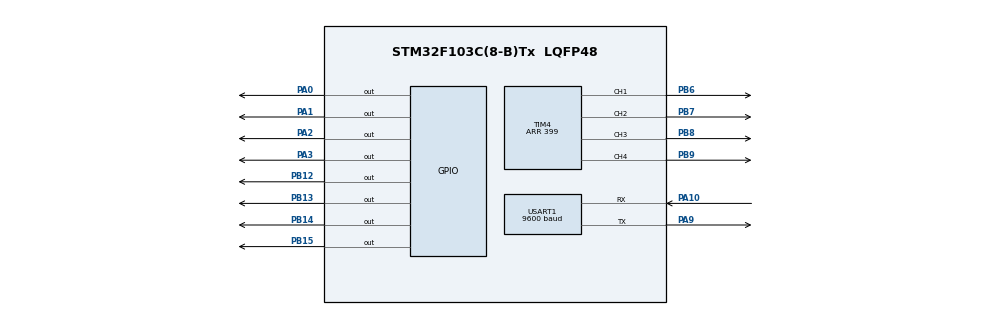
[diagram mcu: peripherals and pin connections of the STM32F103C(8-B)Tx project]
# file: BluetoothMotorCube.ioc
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Mcu.Family=STM32F1
Mcu.Name=STM32F103C(8-B)Tx
Mcu.Package=LQFP48
NVIC.PriorityGroup=NVIC_PRIORITYGROUP_4
PA0-WKUP.Signal=GPIO_Output
PA1.Signal=GPIO_Output
PA10.Mode=Asynchronous
PA10.Signal=USART1_RX
PA13.Mode=Serial_Wire
PA13.Signal=SYS_JTMS-SWDIO
PA14.Mode=Serial_Wire
PA14.Signal=SYS_JTCK-SWCLK
PA2.Signal=GPIO_Output
PA3.Signal=GPIO_Output
PA9.Mode=Asynchronous
PA9.Signal=USART1_TX
PB12.Signal=GPIO_Output
PB13.Signal=GPIO_Output
PB14.Signal=GPIO_Output
PB15.Signal=GPIO_Output
PB6.Signal=S_TIM4_CH1
PB7.Signal=S_TIM4_CH2
PB8.Signal=S_TIM4_CH3
PB9.Signal=S_TIM4_CH4
ProjectManager.HeapSize=0x200
ProjectManager.StackSize=0x400
ProjectManager.TargetToolchain=Makefile
RCC.APB1Freq_Value=8000000
RCC.APB2Freq_Value=8000000
SH.S_TIM4_CH1.0=TIM4_CH1,PWM Generation1 CH1
SH.S_TIM4_CH2.0=TIM4_CH2,PWM Generation2 CH2
SH.S_TIM4_CH3.0=TIM4_CH3,PWM Generation3 CH3
SH.S_TIM4_CH4.0=TIM4_CH4,PWM Generation4 CH4
TIM4.AutoReloadPreload=TIM_AUTORELOAD_PRELOAD_ENABLE
TIM4.Channel-PWM\ Generation1\ CH1=TIM_CHANNEL_1
TIM4.Channel-PWM\ Generation2\ CH2=TIM_CHANNEL_2
TIM4.Channel-PWM\ Generation3\ CH3=TIM_CHANNEL_3
TIM4.Channel-PWM\ Generation4\ CH4=TIM_CHANNEL_4
TIM4.Period=399
USART1.BaudRate=9600
USART1.VirtualMode=VM_ASYNC
VP_TIM4_VS_ClockSourceINT.Mode=Internal
board=custom

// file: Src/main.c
/* USER CODE BEGIN Header */
/**
  ******************************************************************************
  * @file           : main.c
  * @brief          : Main program body
  ******************************************************************************
  * @attention
  *
  * Copyright (c) 2026 STMicroelectronics.
  * All rights reserved.
  *
  * This software is licensed under terms that can be found in the LICENSE file
  * in the root directory of this software component.
  * If no LICENSE file comes with this software, it is provided AS-IS.
  *
  ******************************************************************************
  */
/* USER CODE END Header */
#include "main.h"

/* USER CODE BEGIN Includes */
#include <string.h>
/* USER CODE END Includes */

/* USER CODE BEGIN PTD */
typedef struct
{
  GPIO_TypeDef *in1_port;
  uint16_t in1_pin;
  GPIO_TypeDef *in2_port;
  uint16_t in2_pin;
  uint32_t pwm_channel;
  int16_t trim_percent;
  uint8_t inverted;
  int16_t current_pwm;
} MotorConfig_t;

/* USER CODE END PTD */

/* USER CODE BEGIN PD */
#define PWM_MAX_VALUE          399
#define PWM_MIN_RUN            60
#define PWM_RAMP_UP_STEP       20
#define PWM_RAMP_DOWN_STEP     30
#define CONTROL_PERIOD_MS      10U
#define MOTION_TIMEOUT_MS      1200U
/*
 * Single-key bench test speed. Kept equal to the old effective value
 * (100 * 35%) so the behaviour already validated on the bench is
 * preserved now that the hidden 35% scaling is gone.
 * Diagonal keys use 71% per axis, which is the 45 degree unit vector,
 * so all manual keys produce the same translational magnitude.
 */
#define MANUAL_TEST_SPEED      35
#define MANUAL_DIAG_SPEED      25
#define VECTOR_BUFFER_SIZE     28U

/* USER CODE END PD */

TIM_HandleTypeDef htim4;

UART_HandleTypeDef huart1;

/* USER CODE BEGIN PV */
static MotorConfig_t motors[4] =
{
  /* Order must match wheel[] in set_motion: FL, FR, RL, RR. */
  {GPIOB, GPIO_PIN_12, GPIOB, GPIO_PIN_13, TIM_CHANNEL_1, 100, 0, 0},
  {GPIOA, GPIO_PIN_0,  GPIOA, GPIO_PIN_1,  TIM_CHANNEL_3, 100, 0, 0},
  {GPIOB, GPIO_PIN_14, GPIOB, GPIO_PIN_15, TIM_CHANNEL_2, 100, 0, 0},
  {GPIOA, GPIO_PIN_2,  GPIOA, GPIO_PIN_3,  TIM_CHANNEL_4, 100, 0, 0}
};

static int16_t target_pwm[4];
static int16_t motion_vx;
static int16_t motion_vy;
static int16_t motion_wz;
static uint8_t motion_active;
static uint32_t motion_deadline;
static uint32_t last_control_tick;

static uint8_t vector_collecting;
static uint8_t vector_length;
static char vector_buffer[VECTOR_BUFFER_SIZE];
/* USER CODE END PV */

void SystemClock_Config(void);
static void MX_GPIO_Init(void);
static void MX_TIM4_Init(void);
static void MX_USART1_UART_Init(void);
/* USER CODE BEGIN PFP */
static void uart_puts(const char *text);
static int32_t abs_i32(int32_t value);
static void motors_hard_stop(void);
static void motor_output(MotorConfig_t *motor, int16_t pwm);
static void motors_ramp(void);
static void set_motion(int16_t vx, int16_t vy, int16_t wz);
static void start_motion(int16_t vx, int16_t vy, int16_t wz);
static void process_command(uint8_t byte);
static void process_vector(void);
static uint8_t parse_int16(const char **cursor, int16_t *value);
/* USER CODE END PFP */

int main(void)
{

  /* USER CODE BEGIN 1 */
  uint8_t rx_byte = 0;
  /* USER CODE END 1 */

  /* MCU Configuration--------------------------------------------------------*/

  /* Reset of all peripherals, Initializes the Flash interface and the Systick. */
  HAL_Init();

  /* Configure the system clock */
  SystemClock_Config();

  /* Initialize all configured peripherals */
  MX_GPIO_Init();
  MX_TIM4_Init();
  MX_USART1_UART_Init();
  /* USER CODE BEGIN 2 */
  HAL_TIM_PWM_Start(&htim4, TIM_CHANNEL_1);
  HAL_TIM_PWM_Start(&htim4, TIM_CHANNEL_2);
  HAL_TIM_PWM_Start(&htim4, TIM_CHANNEL_3);
  HAL_TIM_PWM_Start(&htim4, TIM_CHANNEL_4);
  motors_hard_stop();
  last_control_tick = HAL_GetTick();

  uart_puts("MECANUM X READY\r\n");
  uart_puts("F/B/L/R=move Q/E=rotate S=stop\r\n");
  uart_puts("G/I/H/J=diagonal\r\n");
  uart_puts("V,fwd,right,ccw<ENTER>=vector -100..100\r\n");
  /* USER CODE END 2 */

  /* Infinite loop */
  /* USER CODE BEGIN WHILE */
  while (1)
  {
    /*
     * A finite timeout is essential here, not just for responsiveness:
     * HAL only clears a latched overrun (ORE) from inside the timeout
     * path of UART_WaitOnFlagUntilTimeout. With HAL_MAX_DELAY a single
     * overrun would leave the receiver stuck forever.
     */
    if (HAL_UART_Receive(&huart1, &rx_byte, 1, 1) == HAL_OK)
    {
      process_command(rx_byte);
    }

    if ((HAL_GetTick() - last_control_tick) >= CONTROL_PERIOD_MS)
    {
      last_control_tick = HAL_GetTick();
      motors_ramp();
    }

    if (motion_active &&
        ((int32_t)(HAL_GetTick() - motion_deadline) >= 0))
    {
      motion_active = 0;
      motion_vx = 0;
      motion_vy = 0;
      motion_wz = 0;
      /*
       * Coast to a stop through the ramp instead of cutting the PWM
       * instantly, so a dropped link does not slam the gearbox.
       */
      set_motion(0, 0, 0);
      uart_puts("STOP timeout\r\n");
    }

    /* USER CODE END WHILE */

  }
}

void SystemClock_Config(void)
{
  RCC_OscInitTypeDef RCC_OscInitStruct = {0};
  RCC_ClkInitTypeDef RCC_ClkInitStruct = {0};

  /** Initializes the RCC Oscillators according to the specified parameters
  * in the RCC_OscInitTypeDef structure.
  */
  RCC_OscInitStruct.OscillatorType = RCC_OSCILLATORTYPE_HSI;
  RCC_OscInitStruct.HSIState = RCC_HSI_ON;
  RCC_OscInitStruct.HSICalibrationValue = RCC_HSICALIBRATION_DEFAULT;
  RCC_OscInitStruct.PLL.PLLState = RCC_PLL_NONE;
  if (HAL_RCC_OscConfig(&RCC_OscInitStruct) != HAL_OK)
  {
    Error_Handler();
  }

  /** Initializes the CPU, AHB and APB buses clocks
  */
  RCC_ClkInitStruct.ClockType = RCC_CLOCKTYPE_HCLK|RCC_CLOCKTYPE_SYSCLK
                              |RCC_CLOCKTYPE_PCLK1|RCC_CLOCKTYPE_PCLK2;
  RCC_ClkInitStruct.SYSCLKSource = RCC_SYSCLKSOURCE_HSI;
  RCC_ClkInitStruct.AHBCLKDivider = RCC_SYSCLK_DIV1;
  RCC_ClkInitStruct.APB1CLKDivider = RCC_HCLK_DIV1;
  RCC_ClkInitStruct.APB2CLKDivider = RCC_HCLK_DIV1;

  if (HAL_RCC_ClockConfig(&RCC_ClkInitStruct, FLASH_LATENCY_0) != HAL_OK)
  {
    Error_Handler();
  }
}

static void MX_TIM4_Init(void)
{

  TIM_ClockConfigTypeDef sClockSourceConfig = {0};
  TIM_MasterConfigTypeDef sMasterConfig = {0};
  TIM_OC_InitTypeDef sConfigOC = {0};

  htim4.Instance = TIM4;
  htim4.Init.Prescaler = 0;
  htim4.Init.CounterMode = TIM_COUNTERMODE_UP;
  htim4.Init.Period = 399;
  htim4.Init.ClockDivision = TIM_CLOCKDIVISION_DIV1;
  htim4.Init.AutoReloadPreload = TIM_AUTORELOAD_PRELOAD_ENABLE;
  if (HAL_TIM_Base_Init(&htim4) != HAL_OK)
  {
    Error_Handler();
  }
  sClockSourceConfig.ClockSource = TIM_CLOCKSOURCE_INTERNAL;
  if (HAL_TIM_ConfigClockSource(&htim4, &sClockSourceConfig) != HAL_OK)
  {
    Error_Handler();
  }
  if (HAL_TIM_PWM_Init(&htim4) != HAL_OK)
  {
    Error_Handler();
  }
  sMasterConfig.MasterOutputTrigger = TIM_TRGO_RESET;
  sMasterConfig.MasterSlaveMode = TIM_MASTERSLAVEMODE_DISABLE;
  if (HAL_TIMEx_MasterConfigSynchronization(&htim4, &sMasterConfig) != HAL_OK)
  {
    Error_Handler();
  }
  sConfigOC.OCMode = TIM_OCMODE_PWM1;
  sConfigOC.Pulse = 0;
  sConfigOC.OCPolarity = TIM_OCPOLARITY_HIGH;
  sConfigOC.OCFastMode = TIM_OCFAST_DISABLE;
  if (HAL_TIM_PWM_ConfigChannel(&htim4, &sConfigOC, TIM_CHANNEL_1) != HAL_OK)
  {
    Error_Handler();
  }
  if (HAL_TIM_PWM_ConfigChannel(&htim4, &sConfigOC, TIM_CHANNEL_2) != HAL_OK)
  {
    Error_Handler();
  }
  if (HAL_TIM_PWM_ConfigChannel(&htim4, &sConfigOC, TIM_CHANNEL_3) != HAL_OK)
  {
    Error_Handler();
  }
  if (HAL_TIM_PWM_ConfigChannel(&htim4, &sConfigOC, TIM_CHANNEL_4) != HAL_OK)
  {
    Error_Handler();
  }
  HAL_TIM_MspPostInit(&htim4);

}

static void MX_USART1_UART_Init(void)
{

  huart1.Instance = USART1;
  huart1.Init.BaudRate = 9600;
  huart1.Init.WordLength = UART_WORDLENGTH_8B;
  huart1.Init.StopBits = UART_STOPBITS_1;
  huart1.Init.Parity = UART_PARITY_NONE;
  huart1.Init.Mode = UART_MODE_TX_RX;
  huart1.Init.HwFlowCtl = UART_HWCONTROL_NONE;
  huart1.Init.OverSampling = UART_OVERSAMPLING_16;
  if (HAL_UART_Init(&huart1) != HAL_OK)
  {
    Error_Handler();
  }

}

static void MX_GPIO_Init(void)
{
  GPIO_InitTypeDef GPIO_InitStruct = {0};

  /* GPIO Ports Clock Enable */
  __HAL_RCC_GPIOA_CLK_ENABLE();
  __HAL_RCC_GPIOB_CLK_ENABLE();

  /*Configure GPIO pin Output Level */
  HAL_GPIO_WritePin(GPIOA, GPIO_PIN_0|GPIO_PIN_1|GPIO_PIN_2|GPIO_PIN_3, GPIO_PIN_RESET);

  /*Configure GPIO pin Output Level */
  HAL_GPIO_WritePin(GPIOB, GPIO_PIN_12|GPIO_PIN_13|GPIO_PIN_14|GPIO_PIN_15, GPIO_PIN_RESET);

  /*Configure GPIO pins : PA0 PA1 PA2 PA3 */
  GPIO_InitStruct.Pin = GPIO_PIN_0|GPIO_PIN_1|GPIO_PIN_2|GPIO_PIN_3;
  GPIO_InitStruct.Mode = GPIO_MODE_OUTPUT_PP;
  GPIO_InitStruct.Pull = GPIO_NOPULL;
  GPIO_InitStruct.Speed = GPIO_SPEED_FREQ_LOW;
  HAL_GPIO_Init(GPIOA, &GPIO_InitStruct);

  /*Configure GPIO pins : PB12 PB13 PB14 PB15 */
  GPIO_InitStruct.Pin = GPIO_PIN_12|GPIO_PIN_13|GPIO_PIN_14|GPIO_PIN_15;
  GPIO_InitStruct.Mode = GPIO_MODE_OUTPUT_PP;
  GPIO_InitStruct.Pull = GPIO_NOPULL;
  GPIO_InitStruct.Speed = GPIO_SPEED_FREQ_LOW;
  HAL_GPIO_Init(GPIOB, &GPIO_InitStruct);

}

/* USER CODE BEGIN 4 */
static void uart_puts(const char *text)
{
  HAL_UART_Transmit(&huart1,
                    (const uint8_t *)text,
                    (uint16_t)strlen(text),
                    HAL_MAX_DELAY);
}

static int32_t abs_i32(int32_t value)
{
  return (value < 0) ? -value : value;
}

static void motor_output(MotorConfig_t *motor, int16_t pwm)
{
  uint8_t forward;
  uint16_t compare;

  if (pwm == 0)
  {
    __HAL_TIM_SET_COMPARE(&htim4, motor->pwm_channel, 0);
    HAL_GPIO_WritePin(motor->in1_port, motor->in1_pin, GPIO_PIN_RESET);
    HAL_GPIO_WritePin(motor->in2_port, motor->in2_pin, GPIO_PIN_RESET);
    return;
  }

  forward = (pwm > 0) ? 1U : 0U;
  if (motor->inverted != 0U)
  {
    forward = !forward;
  }

  if (forward != 0U)
  {
    HAL_GPIO_WritePin(motor->in1_port, motor->in1_pin, GPIO_PIN_SET);
    HAL_GPIO_WritePin(motor->in2_port, motor->in2_pin, GPIO_PIN_RESET);
  }
  else
  {
    HAL_GPIO_WritePin(motor->in1_port, motor->in1_pin, GPIO_PIN_RESET);
    HAL_GPIO_WritePin(motor->in2_port, motor->in2_pin, GPIO_PIN_SET);
  }

  compare = (uint16_t)abs_i32(pwm);
  if (compare > PWM_MAX_VALUE)
  {
    compare = PWM_MAX_VALUE;
  }
  __HAL_TIM_SET_COMPARE(&htim4, motor->pwm_channel, compare);
}

static void motors_hard_stop(void)
{
  uint8_t index;

  for (index = 0U; index < 4U; index++)
  {
    motors[index].current_pwm = 0;
    target_pwm[index] = 0;
    motor_output(&motors[index], 0);
  }
}

static void motors_ramp(void)
{
  uint8_t index;
  int16_t current;
  int16_t target;
  int16_t step;

  for (index = 0U; index < 4U; index++)
  {
    current = motors[index].current_pwm;
    target = target_pwm[index];

    if (((current < 0) && (target > 0)) ||
        ((current > 0) && (target < 0)))
    {
      /*
       * Never cross zero in one step: a direction reversal must pass
       * through a full stop so the H-bridge is not stressed and the
       * gearbox is not shocked.
       */
      if (abs_i32(current) <= PWM_RAMP_DOWN_STEP)
      {
        current = 0;
      }
      else
      {
        current += (current > 0) ? -PWM_RAMP_DOWN_STEP : PWM_RAMP_DOWN_STEP;
      }
    }
    else
    {
      /*
       * Asymmetric ramp: accelerate quickly enough to stay responsive
       * at 60 Hz command rate, decelerate faster so releasing the stick
       * feels immediate.
       */
      step = (abs_i32(target) > abs_i32(current)) ? PWM_RAMP_UP_STEP
                                                 : PWM_RAMP_DOWN_STEP;

      if (current < target)
      {
        current = (int16_t)((target - current > step)
                            ? current + step : target);
      }
      else if (current > target)
      {
        current = (int16_t)((current - target > step)
                            ? current - step : target);
      }
    }

    if (current != motors[index].current_pwm)
    {
      motors[index].current_pwm = current;
      motor_output(&motors[index], current);
    }
  }
}

static void set_motion(int16_t vx, int16_t vy, int16_t wz)
{
  int32_t wheel[4];
  int32_t max_wheel = 0;
  int32_t speed;
  uint8_t index;

  motion_vx = vx;
  motion_vy = vy;
  motion_wz = wz;

  /*
   * vx, vy and wz are the final normalised targets in -100..100.
   * The MCU only clamps, normalises the four wheels and applies trim;
   * it must not scale them again, otherwise the host speed slider
   * becomes meaningless (the old code multiplied by a hidden 35%).
   */

  /*
   * Standard X mecanum layout:
   * FL = forward + right - CCW
   * FR = forward - right + CCW
   * RL = forward - right - CCW
   * RR = forward + right + CCW
   */
  wheel[0] = (int32_t)vx + vy - wz;
  wheel[1] = (int32_t)vx - vy + wz;
  wheel[2] = (int32_t)vx - vy - wz;
  wheel[3] = (int32_t)vx + vy + wz;

  for (index = 0U; index < 4U; index++)
  {
    if (abs_i32(wheel[index]) > max_wheel)
    {
      max_wheel = abs_i32(wheel[index]);
    }
  }

  if (max_wheel > 100)
  {
    for (index = 0U; index < 4U; index++)
    {
      wheel[index] = wheel[index] * 100 / max_wheel;
    }
  }

  for (index = 0U; index < 4U; index++)
  {
    speed = wheel[index] * motors[index].trim_percent / 100;
    if (speed > 100)
    {
      speed = 100;
    }
    else if (speed < -100)
    {
      speed = -100;
    }

    target_pwm[index] = (int16_t)(speed * PWM_MAX_VALUE / 100);
    if ((target_pwm[index] != 0) &&
        (abs_i32(target_pwm[index]) < PWM_MIN_RUN))
    {
      target_pwm[index] = (target_pwm[index] > 0)
                          ? PWM_MIN_RUN : -PWM_MIN_RUN;
    }
  }
}

static void start_motion(int16_t vx, int16_t vy, int16_t wz)
{
  set_motion(vx, vy, wz);
  motion_active = 1U;
  motion_deadline = HAL_GetTick() + MOTION_TIMEOUT_MS;
}

/*
 * Two distinct stop semantics on purpose:
 *
 *   V,0,0,0  -> soft stop. Target becomes zero and the ramp coasts the
 *               wheels down, which is what a released stick should do.
 *   S        -> hard stop. PWM is cut immediately and the ramp state is
 *               reset, for the emergency button and for link loss.
 */
static void hard_stop(void)
{
  motion_active = 0U;
  motion_vx = 0;
  motion_vy = 0;
  motion_wz = 0;
  motors_hard_stop();
}

static void process_command(uint8_t byte)
{
  uint8_t command;

  if (vector_collecting != 0U)
  {
    if ((byte == '\n') || (byte == '\r'))
    {
      vector_buffer[vector_length] = '\0';
      vector_collecting = 0U;
      process_vector();
    }
    else if (vector_length < (VECTOR_BUFFER_SIZE - 1U))
    {
      vector_buffer[vector_length++] = (char)byte;
    }
    else
    {
      vector_collecting = 0U;
      uart_puts("ERR vector too long\r\n");
    }
    return;
  }

  command = (uint8_t)((byte >= 'a' && byte <= 'z') ? byte - 32U : byte);

  switch (command)
  {
    case 'F': start_motion(MANUAL_TEST_SPEED, 0, 0);                    uart_puts("F\r\n"); break;
    case 'B': start_motion(-MANUAL_TEST_SPEED, 0, 0);                   uart_puts("B\r\n"); break;
    case 'L': start_motion(0, -MANUAL_TEST_SPEED, 0);                   uart_puts("L\r\n"); break;
    case 'R': start_motion(0, MANUAL_TEST_SPEED, 0);                    uart_puts("R\r\n"); break;
    case 'Q': start_motion(0, 0, MANUAL_TEST_SPEED);                    uart_puts("Q\r\n"); break;
    case 'E': start_motion(0, 0, -MANUAL_TEST_SPEED);                   uart_puts("E\r\n"); break;
    case 'G': start_motion(MANUAL_DIAG_SPEED, -MANUAL_DIAG_SPEED, 0);   uart_puts("FL\r\n"); break;
    case 'I': start_motion(MANUAL_DIAG_SPEED, MANUAL_DIAG_SPEED, 0);    uart_puts("FR\r\n"); break;
    case 'H': start_motion(-MANUAL_DIAG_SPEED, -MANUAL_DIAG_SPEED, 0);  uart_puts("BL\r\n"); break;
    case 'J': start_motion(-MANUAL_DIAG_SPEED, MANUAL_DIAG_SPEED, 0);   uart_puts("BR\r\n"); break;
    case 'K':
      if (motion_active != 0U)
      {
        motion_deadline = HAL_GetTick() + MOTION_TIMEOUT_MS;
      }
      break;
    case 'S':
      hard_stop();
      uart_puts("STOP\r\n");
      break;
    case 'V':
      vector_length = 0U;
      vector_collecting = 1U;
      break;
    default:
      break;
  }
}

static uint8_t parse_int16(const char **cursor, int16_t *value)
{
  int32_t result = 0;
  int8_t sign = 1;
  uint8_t has_digit = 0U;

  while ((**cursor == ' ') || (**cursor == ','))
  {
    (*cursor)++;
  }
  if (**cursor == '-')
  {
    sign = -1;
    (*cursor)++;
  }
  while ((**cursor >= '0') && (**cursor <= '9'))
  {
    has_digit = 1U;
    result = (result * 10) + (**cursor - '0');
    if (result > 1000)
    {
      return 0U;
    }
    (*cursor)++;
  }
  if (has_digit == 0U)
  {
    return 0U;
  }

  result *= sign;
  if (result > 100)
  {
    result = 100;
  }
  else if (result < -100)
  {
    result = -100;
  }
  *value = (int16_t)result;
  return 1U;
}

static void process_vector(void)
{
  const char *cursor = vector_buffer;
  int16_t vx;
  int16_t vy;
  int16_t wz;

  if ((parse_int16(&cursor, &vx) == 0U) ||
      (parse_int16(&cursor, &vy) == 0U) ||
      (parse_int16(&cursor, &wz) == 0U))
  {
    uart_puts("ERR V,fwd,right,ccw\r\n");
    return;
  }

  if ((vx == 0) && (vy == 0) && (wz == 0))
  {
    /*
     * An all-zero vector means "the stick is centred". Setting the
     * target to zero lets the ramp coast down; clearing motion_active
     * disarms the timeout so no STOP timeout is printed while the
     * wheels are still decelerating.
     */
    motion_active = 0U;
    set_motion(0, 0, 0);
    uart_puts("V OK\r\n");
    return;
  }

  start_motion(vx, vy, wz);
  uart_puts("V OK\r\n");
}
/* USER CODE END 4 */

void Error_Handler(void)
{
  __disable_irq();
  while (1)
  {
  }
}
